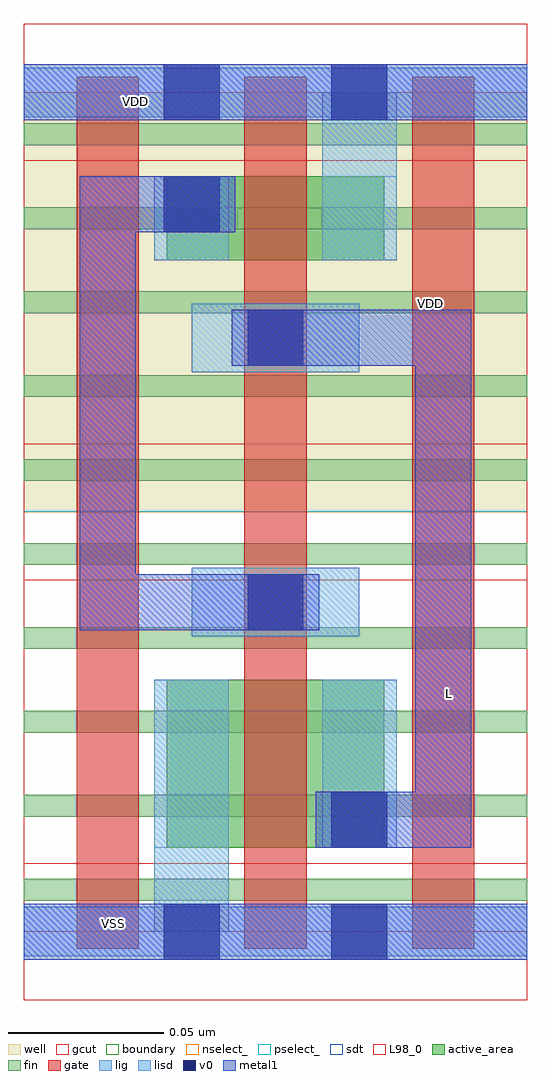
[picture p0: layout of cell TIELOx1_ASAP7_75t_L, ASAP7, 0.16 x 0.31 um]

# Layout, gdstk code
import gdstk
lib = gdstk.Library(unit=1e-6, precision=2.5e-10)
def R(c, l, rs):  # rectangles x0, y0, x1, y1
    for r in rs: c.add(gdstk.rectangle(r[:2], r[2:], *l))
def A(c, l, x, y, w, h, nx, ny, dx, dy):  # array of equal rectangles
    R(c, l, [(x+i*dx, y+j*dy, x+i*dx+w, y+j*dy+h) for i in range(nx) for j in range(ny)])
def P(c, l, *ps):  # polygons
    for p in ps: c.add(gdstk.Polygon(p, *l))
well = (1, 0)
fin = (2, 0)
gate = (7, 0)
gcut = (10, 0)
active_area = (11, 0)
nselect_ = (12, 0)
pselect_ = (13, 0)
lig = (16, 0)
lisd = (17, 0)
v0 = (18, 0)
metal1 = (19, 0)
sdt = (88, 0)
L98_0 = (98, 0)
boundary = (100, 0)

tielox1_asap7_75t_l = lib.new_cell('TIELOx1_ASAP7_75t_L')
R(tielox1_asap7_75t_l, well, [(0,0.135,0.162,0.27)])
A(tielox1_asap7_75t_l, fin, 0, 0.01, 0.162, 0.007, 1, 10, 0, 0.027)
A(tielox1_asap7_75t_l, gate, 0.017, -0.0055, 0.02, 0.2805, 3, 1, 0.054, 0)
A(tielox1_asap7_75t_l, gcut, 0, -0.022, 0.162, 0.044, 1, 3, 0, 0.135)
R(tielox1_asap7_75t_l, active_area, [(0.046,0.027,0.116,0.081), (0.046,0.216,0.116,0.243)])
R(tielox1_asap7_75t_l, nselect_, [(0,0,0.162,0.135)])
R(tielox1_asap7_75t_l, pselect_, [(0,0.135,0.162,0.27)])
R(tielox1_asap7_75t_l, lig, [(0,-0.008,0.162,0.008), (0.054,0.095,0.108,0.117), (0.054,0.18,0.108,0.202), (0,0.262,0.162,0.278)])
R(tielox1_asap7_75t_l, lisd, [(0.042,0,0.066,0.081), (0.096,0.027,0.12,0.081), (0.042,0.216,0.066,0.243), (0.096,0.216,0.12,0.27)])
R(tielox1_asap7_75t_l, v0, [(0.045,-0.009,0.063,0.009), (0.099,-0.009,0.117,0.009), (0.099,0.027,0.117,0.045), (0.072,0.097,0.09,0.115), (0.072,0.182,0.09,0.2), (0.045,0.225,0.063,0.243), (0.045,0.261,0.063,0.279), (0.099,0.261,0.117,0.279)])
R(tielox1_asap7_75t_l, metal1, [(0,-0.009,0.162,0.009), (0,0.261,0.162,0.279)])
P(tielox1_asap7_75t_l, metal1, [(0.094,0.027),(0.094,0.045),(0.126,0.045),(0.126,0.182),(0.067,0.182),(0.067,0.2),(0.144,0.2),(0.144,0.027)],
  [(0.018,0.097),(0.018,0.243),(0.068,0.243),(0.068,0.225),(0.036,0.225),(0.036,0.115),(0.095,0.115),(0.095,0.097)])
R(tielox1_asap7_75t_l, sdt, [(0.042,0.027,0.066,0.081), (0.096,0.027,0.12,0.081), (0.042,0.216,0.066,0.243), (0.096,0.216,0.12,0.243)])
R(tielox1_asap7_75t_l, L98_0, [(0,0,0.162,0.27)])
R(tielox1_asap7_75t_l, boundary, [(0,0,0.162,0.27)])
tielox1_asap7_75t_l.add(gdstk.Label('VDD', (0.131,0.202), layer=1, texttype=251))
tielox1_asap7_75t_l.add(gdstk.Label('VSS', (0.029,0.0025), layer=19, texttype=251))
tielox1_asap7_75t_l.add(gdstk.Label('VDD', (0.036,0.267), layer=19, texttype=251))
tielox1_asap7_75t_l.add(gdstk.Label('L', (0.137,0.0765), layer=19, texttype=251))
tielox1_asap7_75t_l.add(gdstk.Label('VSS', (0.2,0.203), layer=3, texttype=251))

lib.write_gds('TIELOx1_ASAP7_75t_L.gds')
